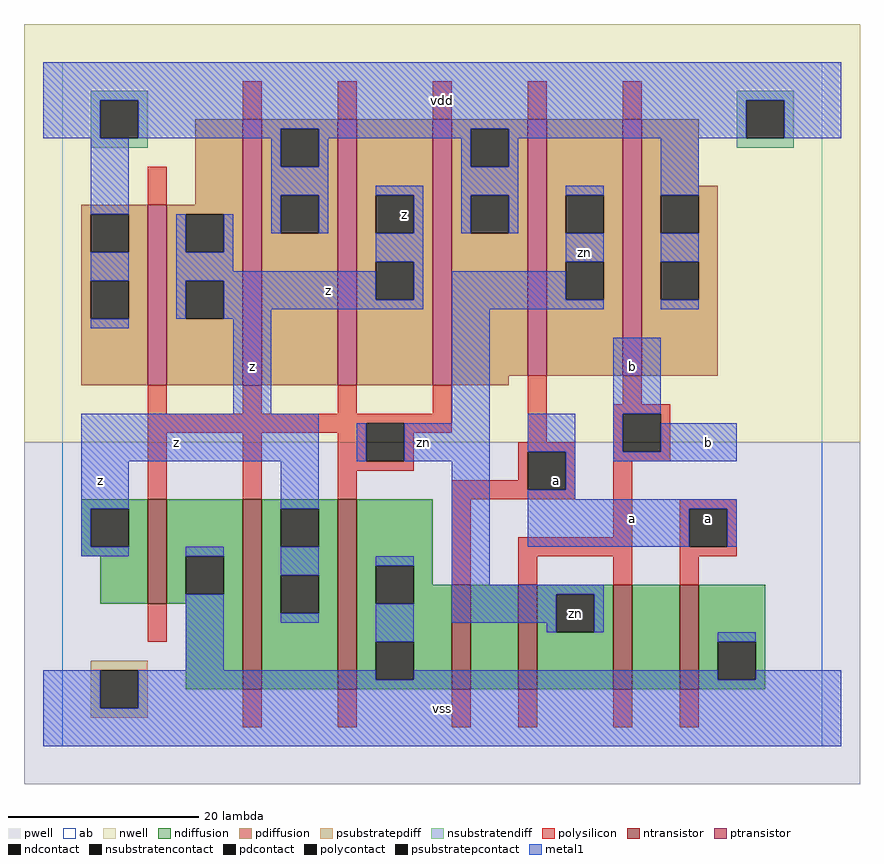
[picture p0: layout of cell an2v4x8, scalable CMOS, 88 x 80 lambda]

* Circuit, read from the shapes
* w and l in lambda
.subckt an2v4x8 a b vdd vss z zn
M1 vss zn z vss nfet w=11 l=2
M2 z zn vss vss nfet w=20 l=2 m=2
M3 n1 a vss vss nfet w=11 l=2
M4 zn b n1 vss nfet w=11 l=2
M5 n2 b zn vss nfet w=11 l=2
M6 vss a n2 vss nfet w=11 l=2
M7 z zn vdd vdd pfet w=19 l=2
M8 vdd zn z vdd pfet w=28 l=2 m=3
M9 zn a vdd vdd pfet w=27 l=2
M10 vdd b zn vdd pfet w=27 l=2
.ends

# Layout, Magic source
magic
tech scmos
<< ab >>
rect 0 0 80 72
<< pwell >>
rect -4 -4 84 32
<< nwell >>
rect -4 32 84 76
<< polysilicon >>
rect 19 66 21 70
rect 29 66 31 70
rect 39 66 41 70
rect 49 66 51 70
rect 59 66 61 70
rect 9 57 11 61
rect 9 35 11 38
rect 19 35 21 38
rect 29 35 31 38
rect 39 35 41 38
rect 9 34 41 35
rect 9 33 32 34
rect 9 26 11 33
rect 19 26 21 33
rect 29 30 32 33
rect 36 33 41 34
rect 36 30 37 33
rect 49 32 51 39
rect 59 36 61 39
rect 58 35 64 36
rect 29 29 37 30
rect 48 31 54 32
rect 29 26 31 29
rect 48 28 49 31
rect 41 27 49 28
rect 53 27 54 31
rect 41 26 54 27
rect 58 31 59 35
rect 63 31 64 35
rect 58 30 64 31
rect 9 11 11 15
rect 41 17 43 26
rect 58 22 60 30
rect 48 20 60 22
rect 48 17 50 20
rect 58 17 60 20
rect 65 25 71 26
rect 65 21 66 25
rect 70 21 71 25
rect 65 20 71 21
rect 65 17 67 20
rect 19 2 21 6
rect 29 2 31 6
rect 41 2 43 6
rect 48 2 50 6
rect 58 2 60 6
rect 65 2 67 6
<< ndiffusion >>
rect 2 25 9 26
rect 2 21 3 25
rect 7 21 9 25
rect 2 20 9 21
rect 4 15 9 20
rect 11 20 19 26
rect 11 16 13 20
rect 17 16 19 20
rect 11 15 19 16
rect 13 6 19 15
rect 21 25 29 26
rect 21 21 23 25
rect 27 21 29 25
rect 21 18 29 21
rect 21 14 23 18
rect 27 14 29 18
rect 21 6 29 14
rect 31 19 39 26
rect 31 15 33 19
rect 37 17 39 19
rect 37 15 41 17
rect 31 11 41 15
rect 31 7 33 11
rect 37 7 41 11
rect 31 6 41 7
rect 43 6 48 17
rect 50 16 58 17
rect 50 12 52 16
rect 56 12 58 16
rect 50 6 58 12
rect 60 6 65 17
rect 67 11 74 17
rect 67 7 69 11
rect 73 7 74 11
rect 67 6 74 7
<< pdiffusion >>
rect 14 57 19 66
rect 2 56 9 57
rect 2 52 3 56
rect 7 52 9 56
rect 2 49 9 52
rect 2 45 3 49
rect 7 45 9 49
rect 2 38 9 45
rect 11 56 19 57
rect 11 52 13 56
rect 17 52 19 56
rect 11 49 19 52
rect 11 45 13 49
rect 17 45 19 49
rect 11 38 19 45
rect 21 65 29 66
rect 21 61 23 65
rect 27 61 29 65
rect 21 58 29 61
rect 21 54 23 58
rect 27 54 29 58
rect 21 38 29 54
rect 31 58 39 66
rect 31 54 33 58
rect 37 54 39 58
rect 31 51 39 54
rect 31 47 33 51
rect 37 47 39 51
rect 31 38 39 47
rect 41 65 49 66
rect 41 61 43 65
rect 47 61 49 65
rect 41 58 49 61
rect 41 54 43 58
rect 47 54 49 58
rect 41 39 49 54
rect 51 58 59 66
rect 51 54 53 58
rect 57 54 59 58
rect 51 51 59 54
rect 51 47 53 51
rect 57 47 59 51
rect 51 39 59 47
rect 61 59 67 66
rect 61 58 69 59
rect 61 54 63 58
rect 67 54 69 58
rect 61 51 69 54
rect 61 47 63 51
rect 67 47 69 51
rect 61 39 69 47
rect 41 38 47 39
<< metal1 >>
rect -2 68 82 72
rect -2 64 4 68
rect 8 65 72 68
rect 8 64 23 65
rect 3 56 7 64
rect 22 61 23 64
rect 27 64 43 65
rect 27 61 28 64
rect 22 58 28 61
rect 42 61 43 64
rect 47 64 72 65
rect 76 64 82 68
rect 47 61 48 64
rect 3 49 7 52
rect 12 52 13 56
rect 17 52 18 56
rect 22 54 23 58
rect 27 54 28 58
rect 33 58 38 59
rect 37 54 38 58
rect 42 58 48 61
rect 42 54 43 58
rect 47 54 48 58
rect 53 58 57 59
rect 12 50 18 52
rect 33 51 38 54
rect 12 49 33 50
rect 12 45 13 49
rect 17 47 33 49
rect 37 47 38 51
rect 53 51 57 54
rect 17 46 38 47
rect 41 47 53 50
rect 41 46 57 47
rect 63 58 67 64
rect 63 51 67 54
rect 63 46 67 47
rect 17 45 22 46
rect 3 44 7 45
rect 18 35 22 45
rect 2 30 27 35
rect 41 34 45 46
rect 58 35 63 43
rect 31 30 32 34
rect 36 30 45 34
rect 2 25 7 30
rect 2 21 3 25
rect 23 25 27 30
rect 2 20 7 21
rect 13 20 17 21
rect 13 8 17 16
rect 23 18 27 21
rect 23 13 27 14
rect 33 19 37 20
rect 33 11 37 15
rect 41 17 45 30
rect 49 31 54 35
rect 53 27 54 31
rect 58 31 59 35
rect 63 31 71 34
rect 58 30 71 31
rect 49 26 54 27
rect 49 25 71 26
rect 49 21 66 25
rect 70 21 71 25
rect 41 16 57 17
rect 41 13 52 16
rect 51 12 52 13
rect 56 12 57 16
rect -2 4 4 8
rect 8 7 33 8
rect 69 11 73 12
rect 37 7 69 8
rect 73 7 82 8
rect 8 4 82 7
rect -2 0 82 4
<< ntransistor >>
rect 9 15 11 26
rect 19 6 21 26
rect 29 6 31 26
rect 41 6 43 17
rect 48 6 50 17
rect 58 6 60 17
rect 65 6 67 17
<< ptransistor >>
rect 9 38 11 57
rect 19 38 21 66
rect 29 38 31 66
rect 39 38 41 66
rect 49 39 51 66
rect 59 39 61 66
<< polycontact >>
rect 32 30 36 34
rect 49 27 53 31
rect 59 31 63 35
rect 66 21 70 25
<< ndcontact >>
rect 3 21 7 25
rect 13 16 17 20
rect 23 21 27 25
rect 23 14 27 18
rect 33 15 37 19
rect 33 7 37 11
rect 52 12 56 16
rect 69 7 73 11
<< pdcontact >>
rect 3 52 7 56
rect 3 45 7 49
rect 13 52 17 56
rect 13 45 17 49
rect 23 61 27 65
rect 23 54 27 58
rect 33 54 37 58
rect 33 47 37 51
rect 43 61 47 65
rect 43 54 47 58
rect 53 54 57 58
rect 53 47 57 51
rect 63 54 67 58
rect 63 47 67 51
<< psubstratepcontact >>
rect 4 4 8 8
<< nsubstratencontact >>
rect 4 64 8 68
rect 72 64 76 68
<< psubstratepdiff >>
rect 3 8 9 9
rect 3 4 4 8
rect 8 4 9 8
rect 3 3 9 4
<< nsubstratendiff >>
rect 3 68 9 69
rect 3 64 4 68
rect 8 64 9 68
rect 71 68 77 69
rect 3 63 9 64
rect 71 64 72 68
rect 76 64 77 68
rect 71 63 77 64
<< labels >>
rlabel metal1 4 28 4 28 6 z
rlabel metal1 12 32 12 32 6 z
rlabel metal1 20 40 20 40 6 z
rlabel metal1 28 48 28 48 6 z
rlabel metal1 40 4 40 4 6 vss
rlabel metal1 38 32 38 32 6 zn
rlabel pdcontact 36 56 36 56 6 z
rlabel metal1 40 68 40 68 6 vdd
rlabel ndcontact 54 14 54 14 6 zn
rlabel metal1 60 24 60 24 6 a
rlabel polycontact 52 28 52 28 6 a
rlabel metal1 60 40 60 40 6 b
rlabel metal1 55 52 55 52 6 zn
rlabel polycontact 68 24 68 24 6 a
rlabel metal1 68 32 68 32 6 b
<< end >>
